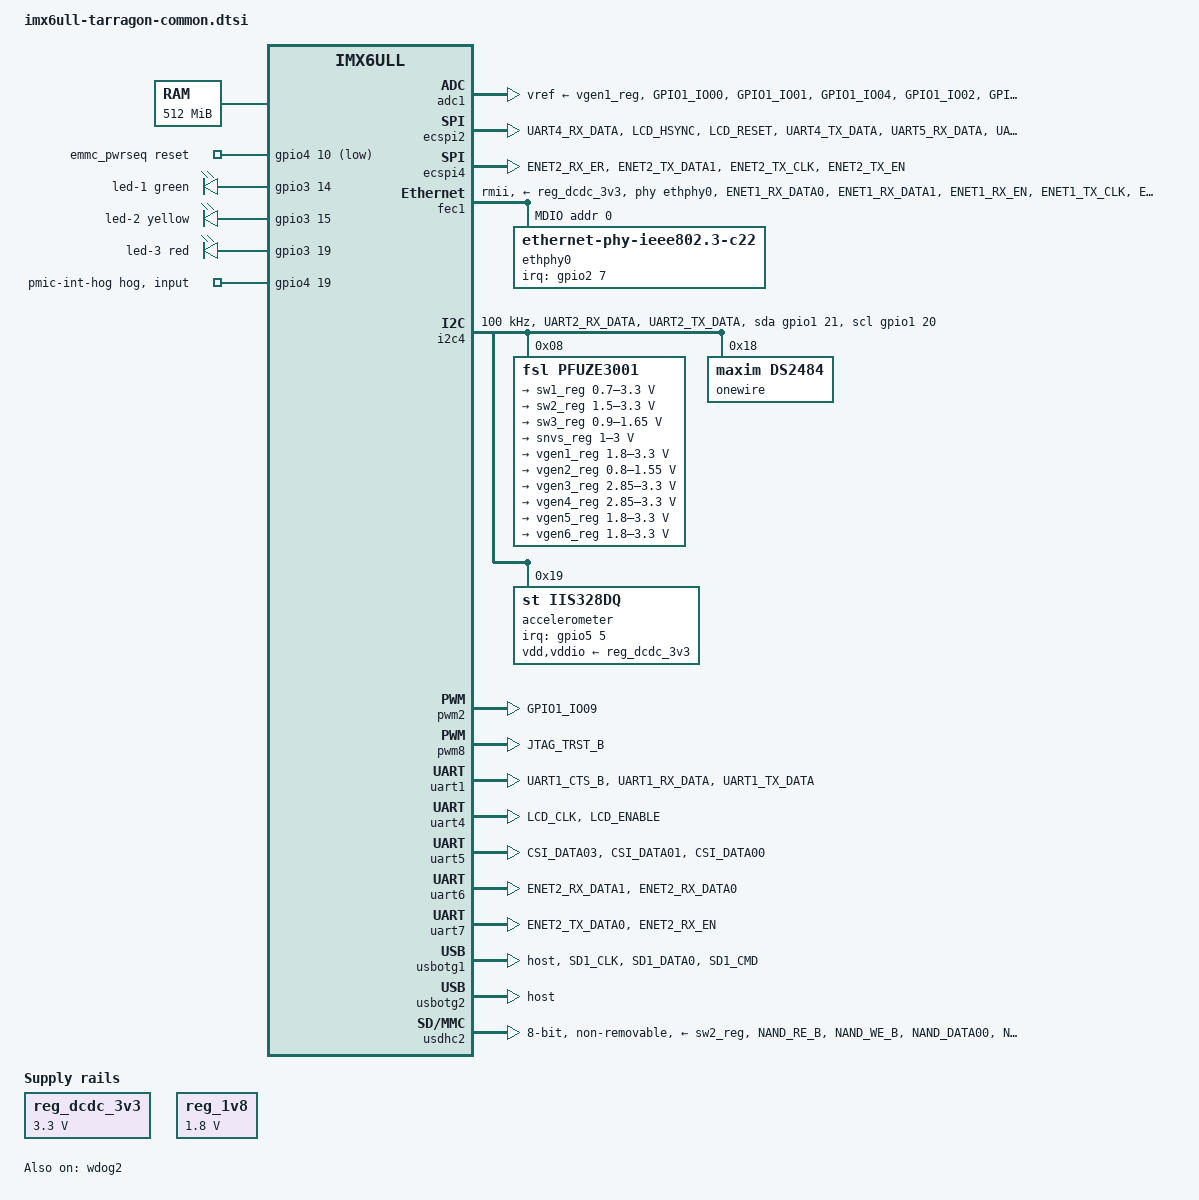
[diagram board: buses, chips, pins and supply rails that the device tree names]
// SPDX-License-Identifier: GPL-2.0 OR MIT
//
// Copyright (C) 2023 chargebyte GmbH

/dts-v1/;

#include <dt-bindings/input/input.h>
#include <dt-bindings/leds/common.h>
#include <dt-bindings/pwm/pwm.h>
#include "imx6ull.dtsi"

/ {
	aliases {
		mmc0 = &usdhc2; /* eMMC */
	};

	chosen {
		stdout-path = &uart4;
	};

	memory@80000000 {
		device_type = "memory";
		reg = <0x80000000 0x20000000>;
	};

	emmc_pwrseq: emmc-pwrseq {
		compatible = "mmc-pwrseq-emmc";
		pinctrl-0 = <&pinctrl_emmc_rst>;
		pinctrl-names = "default";
		reset-gpios = <&gpio4 10 GPIO_ACTIVE_LOW>;
	};

	reg_dcdc_3v3: regulator-dcdc-3v3 {
		compatible = "regulator-fixed";
		regulator-name = "dcdc-3v3";
		regulator-min-microvolt = <3300000>;
		regulator-max-microvolt = <3300000>;
		regulator-boot-on;
		regulator-always-on;
	};

	reg_1v8: regulator-1v8 {
		compatible = "regulator-fixed";
		regulator-name = "ldo-1v8";
		regulator-min-microvolt = <1800000>;
		regulator-max-microvolt = <1800000>;
		regulator-boot-on;
		regulator-always-on;
	};

	leds {
		compatible = "gpio-leds";
		pinctrl-names = "default";
		pinctrl-0 = <&pinctrl_status_leds>;

		led-1 {
			function = LED_FUNCTION_BOOT;
			color = <LED_COLOR_ID_GREEN>;
			gpios = <&gpio3 14 GPIO_ACTIVE_HIGH>;
			linux,default-trigger = "timer";
		};

		led-2 {
			function = LED_FUNCTION_PROGRAMMING;
			color = <LED_COLOR_ID_YELLOW>;
			gpios = <&gpio3 15 GPIO_ACTIVE_HIGH>;
		};

		led-3 {
			function = LED_FUNCTION_HEARTBEAT;
			color = <LED_COLOR_ID_RED>;
			gpios = <&gpio3 19 GPIO_ACTIVE_HIGH>;
			linux,default-trigger = "heartbeat";
		};
	};
};

&adc1 {
	pinctrl-names = "default";
	pinctrl-0 = <&pinctrl_adc_motor
		     &pinctrl_adc_cp
		     &pinctrl_adc_pp>;
	vref-supply = <&vgen1_reg>;
	status = "okay";
};

&cpu0 {
	clock-frequency = <792000000>;
};

&ecspi2 {
	#address-cells = <1>;
	#size-cells = <0>;
	pinctrl-names = "default";
	pinctrl-0 = <&pinctrl_ecspi2>;
	num-cs = <3>;
	cs-gpios = <&gpio1 29 GPIO_ACTIVE_HIGH
		    &gpio3 2  GPIO_ACTIVE_HIGH
		    &gpio3 4  GPIO_ACTIVE_HIGH>;
};

&ecspi4 {
	#address-cells = <1>;
	#size-cells = <0>;
	pinctrl-names = "default";
	pinctrl-0 = <&pinctrl_ecspi4>;
	num-cs = <1>;
	cs-gpios = <&gpio2 15 GPIO_ACTIVE_HIGH>;
};

&fec1 {
	pinctrl-names = "default";
	pinctrl-0 = <&pinctrl_enet1
		     &pinctrl_enet1_phy_rst
		     &pinctrl_enet_mdio>;
	phy-supply = <&reg_dcdc_3v3>;
	phy-mode = "rmii";
	phy-reset-gpios = <&gpio5 6 GPIO_ACTIVE_LOW>;
	phy-reset-duration = <25>;
	phy-handle = <&ethphy0>;

	mdio {
		#address-cells = <1>;
		#size-cells = <0>;

		ethphy0: ethernet-phy@0 {
			compatible = "ethernet-phy-ieee802.3-c22";
			reg = <0>;
			pinctrl-names = "default";
			pinctrl-0 = <&pinctrl_enet1_phy_int>;
			interrupt-parent = <&gpio2>;
			interrupts = <7 IRQ_TYPE_EDGE_FALLING>;
			interrupts-extended = <&gpio2 7 IRQ_TYPE_EDGE_FALLING>;
			clocks = <&clks IMX6UL_CLK_ENET_REF>;
			clock-names = "rmii-ref";
			max-speed = <100>;
			smsc,disable-energy-detect;
		};
	};
};

&gpio1 {
	gpio-line-names = "",				/* 0 */
			  "",
			  "",
			  "",
			  "",
			  "",				/* 5 */
			  "",
			  "",
			  "",
			  "",
			  "",				/* 10 */
			  "",
			  "",
			  "CP_INVERT",
			  "",
			  "",				/* 15 */
			  "",
			  "",
			  "",
			  "MOTOR_1_FAULT_N",
			  "",				/* 20 */
			  "",
			  "ROTARY_SWITCH_1_2_N",
			  "ROTARY_SWITCH_1_4_N",
			  "ROTARY_SWITCH_1_8_N",
			  "MOTOR_2_FAULT_N";		/* 25 */
};

&gpio3 {
	gpio-line-names = "",				/* 0 */
			  "",
			  "",
			  "",
			  "",
			  "",				/* 5 */
			  "EXT_GPIO",
			  "MOTOR_1_DRIVER_IN1_N",
			  "MOTOR_1_DRIVER_IN2",
			  "MOTOR_2_DRIVER_IN1",
			  "STM32_BOOT0",		/* 10 */
			  "STM32_RST_N",
			  "RELAY_1_ENABLE",
			  "RELAY_2_ENABLE",
			  "",
			  "",				/* 15 */
			  "QCA700X_MAINS_BOOTLOADER_N",
			  "QCA700X_CP_RST_N",
			  "QCA700X_CP_BOOTLOADER_N",
			  "",
			  "DIGITAL_OUT_1",		/* 20 */
			  "DIGITAL_OUT_2",
			  "DIGITAL_OUT_3",
			  "DIGITAL_OUT_4",
			  "DIGITAL_OUT_5",
			  "DIGITAL_OUT_6",		/* 25 */
			  "ROTARY_SWITCH_2_8_N",
			  "ROTARY_SWITCH_2_4_N",
			  "ROTARY_SWITCH_2_2_N";
};

&gpio4 {
	pinctrl-names = "default";
	pinctrl-0 = <&pinctrl_pmic>;

	gpio-line-names = "",				/* 0 */
			  "",
			  "",
			  "",
			  "",
			  "",				/* 5 */
			  "",
			  "",
			  "",
			  "",
			  "",				/* 10 */
			  "",
			  "",
			  "BOARD_VARIANT_1",
			  "BOARD_VARIANT_2",
			  "BOARD_VARIANT_0",		/* 15 */
			  "BOARD_VARIANT_3",
			  "",
			  "ROTARY_SWITCH_2_1_N",
			  "",
			  "DIGITAL_IN_5",		/* 20 */
			  "",
			  "",
			  "DIGITAL_IN_6",
			  "",
			  "DIGITAL_IN_1",		/* 25 */
			  "DIGITAL_IN_2",
			  "DIGITAL_IN_4",
			  "DIGITAL_IN_3";

	pmic-int-hog {
		gpio-hog;
		gpios = <19 0>;
		input;
	};
};

&gpio5 {
	gpio-line-names = "ROTARY_SWITCH_1_1_N",	/* 0 */
			  "",
			  "RELAY_2_SENSE",
			  "RELAY_1_SENSE",
			  "",
			  "",				/* 5 */
			  "",
			  "QCA700X_MAINS_RST_N",
			  "MOTOR_2_DRIVER_IN2",
			  "",
			  "CP_POSITIVE_PEAK_RST",	/* 10 */
			  "CP_NEGATIVE_PEAK_RST";
};

&i2c4 {
	clock-frequency = <100000>;
	pinctrl-names = "default", "gpio";
	pinctrl-0 = <&pinctrl_i2c4>;
	pinctrl-1 = <&pinctrl_i2c4_gpio>;
	scl-gpios = <&gpio1 20 (GPIO_ACTIVE_HIGH | GPIO_OPEN_DRAIN)>;
	sda-gpios = <&gpio1 21 (GPIO_ACTIVE_HIGH | GPIO_OPEN_DRAIN)>;
	status = "okay";

	pfuze3001: pmic@8 {
		compatible = "fsl,pfuze3001";
		reg = <0x08>;

		regulators {
			sw1_reg: sw1 {
				regulator-name = "SW1";
				regulator-min-microvolt = <700000>;
				regulator-max-microvolt = <3300000>;
				regulator-boot-on;
				regulator-always-on;
			};

			sw2_reg: sw2 {
				regulator-name = "SW2";
				regulator-min-microvolt = <1500000>;
				regulator-max-microvolt = <3300000>;
				regulator-boot-on;
				regulator-always-on;
			};

			sw3_reg: sw3 {
				regulator-name = "SW3";
				regulator-min-microvolt = <900000>;
				regulator-max-microvolt = <1650000>;
				regulator-boot-on;
				regulator-always-on;
			};

			snvs_reg: vsnvs {
				regulator-name = "VSNVS";
				regulator-min-microvolt = <1000000>;
				regulator-max-microvolt = <3000000>;
				regulator-boot-on;
				regulator-always-on;
			};

			vgen1_reg: vldo1 {
				regulator-name = "VLDO1";
				regulator-min-microvolt = <1800000>;
				regulator-max-microvolt = <3300000>;
				regulator-always-on;
			};

			vgen2_reg: vldo2 {
				regulator-name = "VLDO2";
				regulator-min-microvolt = <800000>;
				regulator-max-microvolt = <1550000>;
				regulator-always-on;
			};

			vgen3_reg: vccsd {
				regulator-name = "VCCSD";
				regulator-min-microvolt = <2850000>;
				regulator-max-microvolt = <3300000>;
				regulator-always-on;
			};

			vgen4_reg: v33 {
				regulator-name = "V33";
				regulator-min-microvolt = <2850000>;
				regulator-max-microvolt = <3300000>;
				regulator-always-on;
			};

			vgen5_reg: vldo3 {
				regulator-name = "VLDO3";
				regulator-min-microvolt = <1800000>;
				regulator-max-microvolt = <3300000>;
				regulator-always-on;
			};

			vgen6_reg: vldo4 {
				regulator-name = "VLDO4";
				regulator-min-microvolt = <1800000>;
				regulator-max-microvolt = <3300000>;
				regulator-always-on;
			};
		};
	};

	onewire@18 {
		compatible = "maxim,ds2484";
		reg = <0x18>;
	};

	accelerometer@19 {
		compatible = "st,iis328dq", "st,h3lis331dl-accel";
		reg = <0x19>;
		pinctrl-names = "default";
		pinctrl-0 = <&pinctrl_accelerometer_int1_snvs>;
		vdd-supply = <&reg_dcdc_3v3>;
		vddio-supply = <&reg_dcdc_3v3>;
		st,drdy-int-pin = <1>;
		interrupt-parent = <&gpio5>;
		interrupts = <5 IRQ_TYPE_EDGE_RISING>;
	};
};

&iomuxc {
	pinctrl-names = "default";
	pinctrl-0 = <&pinctrl_board_var
		     &pinctrl_digital_input
		     &pinctrl_digital_output
		     &pinctrl_gpio_motor
		     &pinctrl_hog_pins
		     &pinctrl_rotary_switch1
		     &pinctrl_rotary_switch2>;

	pinctrl_adc_cp: adc-cpgrp {
		fsl,pins = <
			MX6UL_PAD_GPIO1_IO02__GPIO1_IO02            0xb0
			MX6UL_PAD_GPIO1_IO03__GPIO1_IO03            0xb0
		>;
	};

	pinctrl_adc_motor: adc-motorgrp {
		fsl,pins = <
			MX6UL_PAD_GPIO1_IO00__GPIO1_IO00            0xb0
			MX6UL_PAD_GPIO1_IO01__GPIO1_IO01            0xb0
			MX6UL_PAD_GPIO1_IO04__GPIO1_IO04            0xb0
		>;
	};

	pinctrl_adc_pp: adc-ppgrp {
		fsl,pins = <
			MX6UL_PAD_GPIO1_IO05__GPIO1_IO05            0xb0
		>;
	};

	pinctrl_board_var: board-vargrp {
		fsl,pins = <
			MX6UL_PAD_NAND_CLE__GPIO4_IO15              0xb0
			MX6UL_PAD_NAND_CE0_B__GPIO4_IO13            0xb0
			MX6UL_PAD_NAND_CE1_B__GPIO4_IO14            0xb0
			MX6UL_PAD_NAND_DQS__GPIO4_IO16              0xb0
		>;
	};

	pinctrl_digital_input: digital-inputgrp {
		fsl,pins = <
			MX6UL_PAD_CSI_DATA04__GPIO4_IO25            0xb0
			MX6UL_PAD_CSI_DATA05__GPIO4_IO26            0xb0
			MX6UL_PAD_CSI_DATA07__GPIO4_IO28            0xb0
			MX6UL_PAD_CSI_DATA06__GPIO4_IO27            0xb0
			MX6UL_PAD_CSI_HSYNC__GPIO4_IO20             0xb0
			MX6UL_PAD_CSI_DATA02__GPIO4_IO23            0xb0
		>;
	};

	pinctrl_digital_output: digital-outputgrp {
		fsl,pins = <
			MX6UL_PAD_LCD_DATA15__GPIO3_IO20            0x400000b0
			MX6UL_PAD_LCD_DATA16__GPIO3_IO21            0x400000b0
			MX6UL_PAD_LCD_DATA17__GPIO3_IO22            0x400000b0
			MX6UL_PAD_LCD_DATA18__GPIO3_IO23            0x400000b0
			MX6UL_PAD_LCD_DATA19__GPIO3_IO24            0x400000b0
			MX6UL_PAD_LCD_DATA20__GPIO3_IO25            0x400000b0
		>;
	};

	pinctrl_ecspi2: ecspi2grp {
		fsl,pins = <
			MX6UL_PAD_UART4_RX_DATA__GPIO1_IO29         0x10b0
			MX6UL_PAD_LCD_HSYNC__GPIO3_IO02             0xb0
			MX6UL_PAD_LCD_RESET__GPIO3_IO04             0xb0
			MX6UL_PAD_UART4_TX_DATA__ECSPI2_SCLK        0x10b0
			MX6UL_PAD_UART5_RX_DATA__ECSPI2_MISO        0x10b0
			MX6UL_PAD_UART5_TX_DATA__ECSPI2_MOSI        0x10b0
		>;
	};

	pinctrl_ecspi4: ecspi4grp {
		fsl,pins = <
			MX6UL_PAD_ENET2_RX_ER__GPIO2_IO15           0x10b0
			MX6UL_PAD_ENET2_TX_DATA1__ECSPI4_SCLK       0x10b0
			MX6UL_PAD_ENET2_TX_CLK__ECSPI4_MISO         0x10b0
			MX6UL_PAD_ENET2_TX_EN__ECSPI4_MOSI          0x10b0
		>;
	};

	pinctrl_emmc_rst: emmc-rstgrp {
		fsl,pins = <
			MX6UL_PAD_NAND_ALE__GPIO4_IO10              0x400010b0
		>;
	};

	pinctrl_enet_mdio: enet-mdiogrp {
		fsl,pins = <
			MX6UL_PAD_GPIO1_IO06__ENET1_MDIO            0x10b0
			MX6UL_PAD_GPIO1_IO07__ENET1_MDC             0x10b0
		>;
	};

	pinctrl_enet1_phy_int: enet1-phy-intgrp {
		fsl,pins = <
			MX6UL_PAD_ENET1_RX_ER__GPIO2_IO07           0x10b0
		>;
	};

	pinctrl_enet1: enet1grp {
		fsl,pins = <
			MX6UL_PAD_ENET1_RX_DATA0__ENET1_RDATA00     0x100b0
			MX6UL_PAD_ENET1_RX_DATA1__ENET1_RDATA01     0x100b0
			MX6UL_PAD_ENET1_RX_EN__ENET1_RX_EN          0x100b0
			MX6UL_PAD_ENET1_TX_CLK__ENET1_REF_CLK1      0x400000b1
			MX6UL_PAD_ENET1_TX_DATA0__ENET1_TDATA00     0xb0
			MX6UL_PAD_ENET1_TX_DATA1__ENET1_TDATA01     0xb0
			MX6UL_PAD_ENET1_TX_EN__ENET1_TX_EN          0xb0
		>;
	};

	pinctrl_ext_uart: ext-uartgrp {
		fsl,pins = <
			MX6UL_PAD_ENET2_TX_DATA0__UART7_DCE_RX      0xb0
			MX6UL_PAD_ENET2_RX_EN__UART7_DCE_TX         0xb0
		>;
	};

	pinctrl_fan_enable: fan-enablegrp {
		fsl,pins = <
			MX6UL_PAD_LCD_DATA00__GPIO3_IO05            0x400000b0
		>;
	};

	pinctrl_gpio_motor: gpio-motorgrp {
		fsl,pins = <
			MX6UL_PAD_LCD_DATA02__GPIO3_IO07            0x400000b0
			MX6UL_PAD_LCD_DATA03__GPIO3_IO08            0x400000b0
			MX6UL_PAD_LCD_DATA04__GPIO3_IO09            0x400000b0
			MX6UL_PAD_UART1_RTS_B__GPIO1_IO19           0xb0
			MX6UL_PAD_UART3_RX_DATA__GPIO1_IO25         0xb0
		>;
	};

	pinctrl_hog_pins: hog-pinsgrp {
		fsl,pins = <
			MX6UL_PAD_LCD_DATA07__GPIO3_IO12            0x400000b0
			MX6UL_PAD_LCD_DATA08__GPIO3_IO13            0x400000b0
			MX6UL_PAD_JTAG_TDI__GPIO1_IO13              0x400070a0
			MX6UL_PAD_LCD_DATA05__GPIO3_IO10            0x400000b0
			MX6UL_PAD_LCD_DATA06__GPIO3_IO11            0x400000b0
		>;
	};

	pinctrl_i2c4: i2c4grp {
		fsl,pins = <
			MX6UL_PAD_UART2_RX_DATA__I2C4_SDA           0x400008b0
			MX6UL_PAD_UART2_TX_DATA__I2C4_SCL           0x400008b0
		>;
	};

	pinctrl_i2c4_gpio: i2c4-gpiogrp {
		fsl,pins = <
			MX6UL_PAD_UART2_RX_DATA__GPIO1_IO21         0x400008b0
			MX6UL_PAD_UART2_TX_DATA__GPIO1_IO20         0x400008b0
		>;
	};

	pinctrl_pmic: pmicgrp {
		fsl,pins = <
			MX6UL_PAD_GPIO1_IO08__USDHC2_VSELECT        0x70b1
			MX6UL_PAD_CSI_VSYNC__GPIO4_IO19             0xb0
		>;
	};

	pinctrl_pwm_cp: pinctrl-pwm-cpgrp {
		fsl,pins = <
			MX6UL_PAD_JTAG_TRST_B__PWM8_OUT             0x60a0
		>;
	};

	pinctrl_pwm_digital_input_ref: pwm-digital-input-refgrp {
		fsl,pins = <
			MX6UL_PAD_GPIO1_IO09__PWM2_OUT              0xb0
		>;
	};

	pinctrl_pwm_fan: pwm-fangrp {
		fsl,pins = <
			MX6UL_PAD_JTAG_TCK__PWM7_OUT                0x60a0
		>;
	};

	pinctrl_qca700x_cp_btld: qca700x-cp-btldgrp {
		fsl,pins = <
			MX6UL_PAD_LCD_DATA13__GPIO3_IO18            0x400000b0
		>;
	};

	pinctrl_qca700x_cp_int: qca700x-cp-intgrp {
		fsl,pins = <
			MX6UL_PAD_SD1_DATA1__GPIO2_IO19             0x10b0
		>;
	};

	pinctrl_qca700x_cp_rst: qca700x-cp-rstgrp {
		fsl,pins = <
			MX6UL_PAD_LCD_DATA12__GPIO3_IO17            0x400000b0
		>;
	};

	pinctrl_qca700x_mains_btld: qca700x-mains-btldgrp {
		fsl,pins = <
			MX6UL_PAD_LCD_DATA11__GPIO3_IO16            0x400000b0
		>;
	};

	pinctrl_rotary_switch1: rotary-switch1grp {
		fsl,pins = <
			MX6UL_PAD_UART2_CTS_B__GPIO1_IO22           0xb0
			MX6UL_PAD_UART2_RTS_B__GPIO1_IO23           0xb0
			MX6UL_PAD_UART3_TX_DATA__GPIO1_IO24         0xb0
		>;
	};

	pinctrl_rotary_switch2: rotary-switch2grp {
		fsl,pins = <
			MX6UL_PAD_CSI_PIXCLK__GPIO4_IO18            0xb0
			MX6UL_PAD_LCD_DATA23__GPIO3_IO28            0xb0
			MX6UL_PAD_LCD_DATA22__GPIO3_IO27            0xb0
			MX6UL_PAD_LCD_DATA21__GPIO3_IO26            0xb0
		>;
	};

	pinctrl_rs485_1: rs485-1grp {
		fsl,pins = <
			MX6UL_PAD_UART1_CTS_B__GPIO1_IO18           0xb0
			MX6UL_PAD_UART1_RX_DATA__UART1_DCE_RX       0xb0
			MX6UL_PAD_UART1_TX_DATA__UART1_DCE_TX       0xb0
		>;
	};

	pinctrl_rs485_2: rs485-2grp {
		fsl,pins = <
			MX6UL_PAD_CSI_DATA03__GPIO4_IO24            0x10b0
			MX6UL_PAD_CSI_DATA01__UART5_DCE_RX          0x10b0
			MX6UL_PAD_CSI_DATA00__UART5_DCE_TX          0x10b0
		>;
	};

	pinctrl_status_leds: status-ledsgrp {
		fsl,pins = <
			MX6UL_PAD_LCD_DATA09__GPIO3_IO14            0xb0
			MX6UL_PAD_LCD_DATA10__GPIO3_IO15            0xb0
			MX6UL_PAD_LCD_DATA14__GPIO3_IO19            0xb0
		>;
	};

	pinctrl_stm32: stm32grp {
		fsl,pins = <
			MX6UL_PAD_ENET2_RX_DATA1__UART6_DCE_RX      0x10b0
			MX6UL_PAD_ENET2_RX_DATA0__UART6_DCE_TX      0x10b0
		>;
	};

	pinctrl_uart4: uart4grp {
		fsl,pins = <
			MX6UL_PAD_LCD_CLK__UART4_DTE_RX             0xb0
			MX6UL_PAD_LCD_ENABLE__UART4_DTE_TX          0xb0
		>;
	};

	pinctrl_usb: usbgrp {
		fsl,pins = <
			MX6UL_PAD_SD1_CLK__USB_OTG1_OC              0x70b0
			MX6UL_PAD_SD1_DATA0__ANATOP_OTG1_ID         0x70b0
		>;
	};

	pinctrl_usb_pwr: usb-pwrgrp {
		fsl,pins = <
			MX6UL_PAD_SD1_CMD__USB_OTG1_PWR             0xb0
		>;
	};

	pinctrl_usdhc2: usdhc2grp {
		fsl,pins = <
			MX6UL_PAD_NAND_RE_B__USDHC2_CLK             0x7071
			MX6UL_PAD_NAND_WE_B__USDHC2_CMD             0x7071
			MX6UL_PAD_NAND_DATA00__USDHC2_DATA0         0x7071
			MX6UL_PAD_NAND_DATA01__USDHC2_DATA1         0x7071
			MX6UL_PAD_NAND_DATA02__USDHC2_DATA2         0x7071
			MX6UL_PAD_NAND_DATA03__USDHC2_DATA3         0x7071
			MX6UL_PAD_NAND_DATA04__USDHC2_DATA4         0x7071
			MX6UL_PAD_NAND_DATA05__USDHC2_DATA5         0x7071
			MX6UL_PAD_NAND_DATA06__USDHC2_DATA6         0x7071
			MX6UL_PAD_NAND_DATA07__USDHC2_DATA7         0x7071
		>;
	};

	pinctrl_usdhc2_100mhz: usdhc2-100mhzgrp {
		fsl,pins = <
			MX6UL_PAD_NAND_RE_B__USDHC2_CLK             0x70b1
			MX6UL_PAD_NAND_WE_B__USDHC2_CMD             0x70b1
			MX6UL_PAD_NAND_DATA00__USDHC2_DATA0         0x70b1
			MX6UL_PAD_NAND_DATA01__USDHC2_DATA1         0x70b1
			MX6UL_PAD_NAND_DATA02__USDHC2_DATA2         0x70b1
			MX6UL_PAD_NAND_DATA03__USDHC2_DATA3         0x70b1
			MX6UL_PAD_NAND_DATA04__USDHC2_DATA4         0x70b1
			MX6UL_PAD_NAND_DATA05__USDHC2_DATA5         0x70b1
			MX6UL_PAD_NAND_DATA06__USDHC2_DATA6         0x70b1
			MX6UL_PAD_NAND_DATA07__USDHC2_DATA7         0x70b1
		>;
	};

	pinctrl_usdhc2_200mhz: usdhc2-200mhzgrp {
		fsl,pins = <
			MX6UL_PAD_NAND_RE_B__USDHC2_CLK             0x70f1
			MX6UL_PAD_NAND_WE_B__USDHC2_CMD             0x70f1
			MX6UL_PAD_NAND_DATA00__USDHC2_DATA0         0x70f1
			MX6UL_PAD_NAND_DATA01__USDHC2_DATA1         0x70f1
			MX6UL_PAD_NAND_DATA02__USDHC2_DATA2         0x70f1
			MX6UL_PAD_NAND_DATA03__USDHC2_DATA3         0x70f1
			MX6UL_PAD_NAND_DATA04__USDHC2_DATA4         0x70f1
			MX6UL_PAD_NAND_DATA05__USDHC2_DATA5         0x70f1
			MX6UL_PAD_NAND_DATA06__USDHC2_DATA6         0x70f1
			MX6UL_PAD_NAND_DATA07__USDHC2_DATA7         0x70f1
		>;
	};

	pinctrl_wdog2: wdoggrp {
		fsl,pins = <
			MX6UL_PAD_LCD_VSYNC__WDOG2_WDOG_B           0x10b0
		>;
	};
};

&iomuxc_snvs {
	pinctrl-names = "default_snvs";
	pinctrl-0 = <&pinctrl_cp_peak_snvs
		     &pinctrl_gpio_motor_snvs
		     &pinctrl_relay_sense_snvs
		     &pinctrl_rotary_switch1_snvs>;

	pinctrl_accelerometer_int1_snvs: accelerometer-int1-snvsgrp {
		fsl,pins = <
			MX6ULL_PAD_SNVS_TAMPER5__GPIO5_IO05         0x130a0
		>;
	};

	pinctrl_cp_peak_snvs: cp-peak-snvsgrp {
		fsl,pins = <
			MX6ULL_PAD_BOOT_MODE0__GPIO5_IO10           0x130a0
			MX6ULL_PAD_BOOT_MODE1__GPIO5_IO11           0x130a0
		>;
	};

	pinctrl_enet1_phy_rst: enet1-phy-rstgrp {
		fsl,pins = <
			MX6ULL_PAD_SNVS_TAMPER6__GPIO5_IO06         0x100a0
		>;
	};

	pinctrl_fan_sense_snvs: fan-sense-snvsgrp {
		fsl,pins = <
			MX6ULL_PAD_SNVS_TAMPER1__GPIO5_IO01         0x100a0
		>;
	};

	pinctrl_gpio_motor_snvs: gpio-motor-snvsgrp {
		fsl,pins = <
			MX6ULL_PAD_SNVS_TAMPER8__GPIO5_IO08         0x110a0
		>;
	};

	pinctrl_qca700x_mains_int: qca700x-mains-intgrp {
		fsl,pins = <
			MX6ULL_PAD_SNVS_TAMPER9__GPIO5_IO09         0x130a0
		>;
	};

	pinctrl_qca700x_mains_rst: qca700x-mains-rstgrp {
		fsl,pins = <
			MX6ULL_PAD_SNVS_TAMPER7__GPIO5_IO07         0x400100a0
		>;
	};

	pinctrl_relay_sense_snvs: relay-sense-snvsgrp {
		fsl,pins = <
			MX6ULL_PAD_SNVS_TAMPER3__GPIO5_IO03         0x100a0
			MX6ULL_PAD_SNVS_TAMPER2__GPIO5_IO02         0x100a0
		>;
	};

	pinctrl_rotary_switch1_snvs: rotary-switch1-snvsgrp {
		fsl,pins = <
			MX6ULL_PAD_SNVS_TAMPER0__GPIO5_IO00         0x110a0
		>;
	};
};

&pwm2 {
	pinctrl-names = "default";
	pinctrl-0 = <&pinctrl_pwm_digital_input_ref>;
	status = "okay";
};

&pwm8 {
	pinctrl-names = "default";
	pinctrl-0 = <&pinctrl_pwm_cp>;
	status = "okay";
};

&uart1 {
	pinctrl-names = "default";
	pinctrl-0 = <&pinctrl_rs485_1>;
	status = "okay";
};

&uart4 {
	pinctrl-names = "default";
	pinctrl-0 = <&pinctrl_uart4>;
	fsl,dte-mode;
	status = "okay";
};

&uart5 {
	pinctrl-names = "default";
	pinctrl-0 = <&pinctrl_rs485_2>;
};

&uart6 {
	pinctrl-names = "default";
	pinctrl-0 = <&pinctrl_stm32>;
	status = "okay";
};

&uart7 {
	pinctrl-names = "default";
	pinctrl-0 = <&pinctrl_ext_uart>;
	status = "okay";
};

&usbotg1 {
	pinctrl-names = "default";
	pinctrl-0 = <&pinctrl_usb
		     &pinctrl_usb_pwr>;
	dr_mode = "host";
	power-active-high;
	over-current-active-low;
	disable-over-current;
	status = "okay";
};

&usbotg2 {
	dr_mode = "host";
	disable-over-current;
	status = "okay";
};

&usbphy1 {
	fsl,tx-cal-45-dn-ohms = <35>;
	fsl,tx-cal-45-dp-ohms = <35>;
};

&usbphy2 {
	fsl,tx-cal-45-dn-ohms = <35>;
	fsl,tx-cal-45-dp-ohms = <35>;
};

&usdhc2 {
	pinctrl-names = "default", "state_100mhz", "state_200mhz";
	pinctrl-0 = <&pinctrl_usdhc2>;
	pinctrl-1 = <&pinctrl_usdhc2_100mhz>;
	pinctrl-2 = <&pinctrl_usdhc2_200mhz>;
	vmmc-supply = <&sw2_reg>;
	vqmmc-supply = <&reg_1v8>;
	mmc-pwrseq = <&emmc_pwrseq>;
	bus-width = <8>;
	non-removable;
	no-sd;
	no-sdio;
	status = "okay";
};

&wdog1 {
	status = "disabled";
};

&wdog2 {
	pinctrl-names = "default";
	pinctrl-0 = <&pinctrl_wdog2>;
	fsl,ext-reset-output;
	status = "okay";
};
